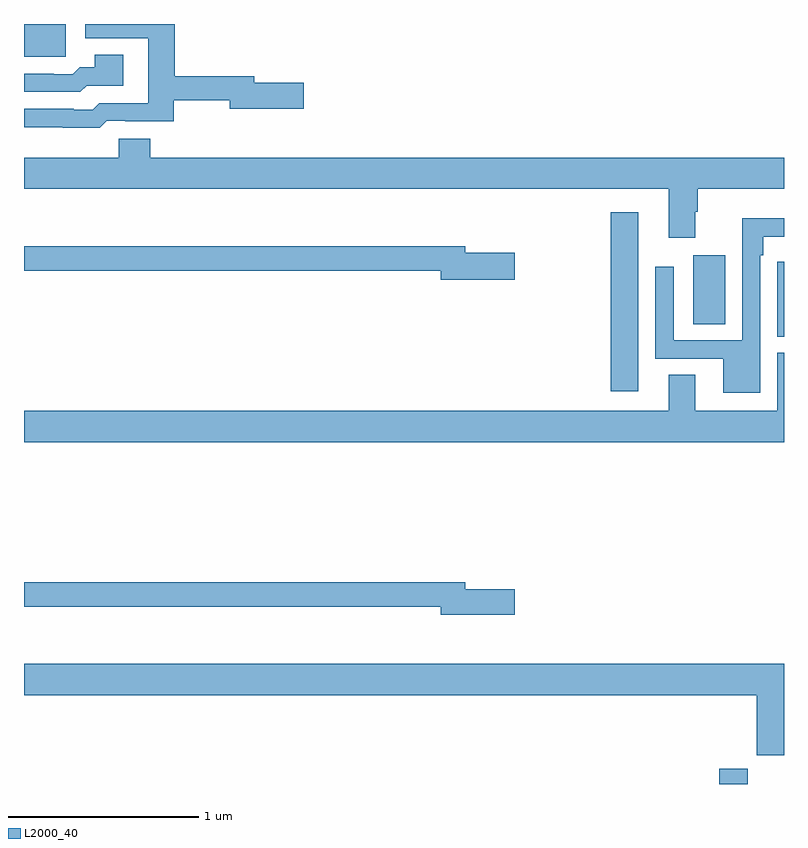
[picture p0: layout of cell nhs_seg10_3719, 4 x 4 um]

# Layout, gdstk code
import gdstk
lib = gdstk.Library(unit=1e-6, precision=1e-09)
def R(c, l, rs):  # rectangles x0, y0, x1, y1
    for r in rs: c.add(gdstk.rectangle(r[:2], r[2:], *l))
def P(c, l, *ps):  # polygons
    for p in ps: c.add(gdstk.Polygon(p, *l))
L2000_40 = (2000, 40)

nhs_seg10_3719 = lib.new_cell('nhs_seg10_3719')
R(nhs_seg10_3719, L2000_40, [(316.658,1314.5,316.81,1314.579), (316.088,1316.568,316.234,1317.508), (316.523,1316.92,316.69,1317.283), (313,1318.328,313.219,1318.5)])
P(nhs_seg10_3719, L2000_40, [(313.435,1317.99),(313.534,1317.99),(313.534,1317.987),(313.788,1317.987),(313.788,1318.098),(314.084,1318.098),(314.084,1318.055),(314.473,1318.055),(314.473,1318.19),(314.212,1318.19),(314.212,1318.226),(313.793,1318.226),(313.793,1318.5),(313.323,1318.5),(313.323,1318.424),(313.655,1318.424),(313.655,1318.083),(313.395,1318.083),(313.362,1318.05),(313.262,1318.05),(313.262,1318.053),(313,1318.053),(313,1317.956),(313.204,1317.956),(313.204,1317.954),(313.399,1317.954)],
  [(313.329,1318.176),(313.522,1318.176),(313.522,1318.339),(313.373,1318.339),(313.373,1318.273),(313.294,1318.273),(313.257,1318.236),(313.157,1318.236),(313.157,1318.239),(313,1318.239),(313,1318.143),(313.296,1318.143)],
  [(316.534,1317.512),(316.547,1317.512),(316.547,1317.632),(317,1317.632),(317,1317.796),(313.664,1317.796),(313.664,1317.895),(313.499,1317.895),(313.499,1317.796),(313,1317.796),(313,1317.632),(316.394,1317.632),(316.394,1317.375),(316.534,1317.375)],
  [(316.875,1317.284),(316.891,1317.284),(316.891,1317.38),(317,1317.38),(317,1317.478),(316.779,1317.478),(316.779,1316.835),(316.419,1316.835),(316.419,1317.223),(316.323,1317.223),(316.323,1316.739),(316.679,1316.739),(316.679,1316.558),(316.875,1316.558)],
  [(315.583,1317.297),(315.322,1317.297),(315.322,1317.331),(313,1317.331),(313,1317.202),(315.194,1317.202),(315.194,1317.155),(315.583,1317.155)],
  [(317,1317.25),(316.965,1317.25),(316.965,1317.137),(316.964,1317.137),(316.964,1316.854),(317,1316.854)],
  [(317,1316.769),(316.964,1316.769),(316.964,1316.464),(316.534,1316.464),(316.534,1316.654),(316.394,1316.654),(316.394,1316.464),(313,1316.464),(313,1316.3),(317,1316.3)],
  [(315.583,1315.526),(315.322,1315.526),(315.322,1315.562),(313,1315.562),(313,1315.434),(315.194,1315.434),(315.194,1315.391),(315.583,1315.391)],
  [(317,1315.132),(313,1315.132),(313,1314.968),(316.856,1314.968),(316.856,1314.651),(317,1314.651)])

lib.write_gds('nhs_seg10_3719.gds')
